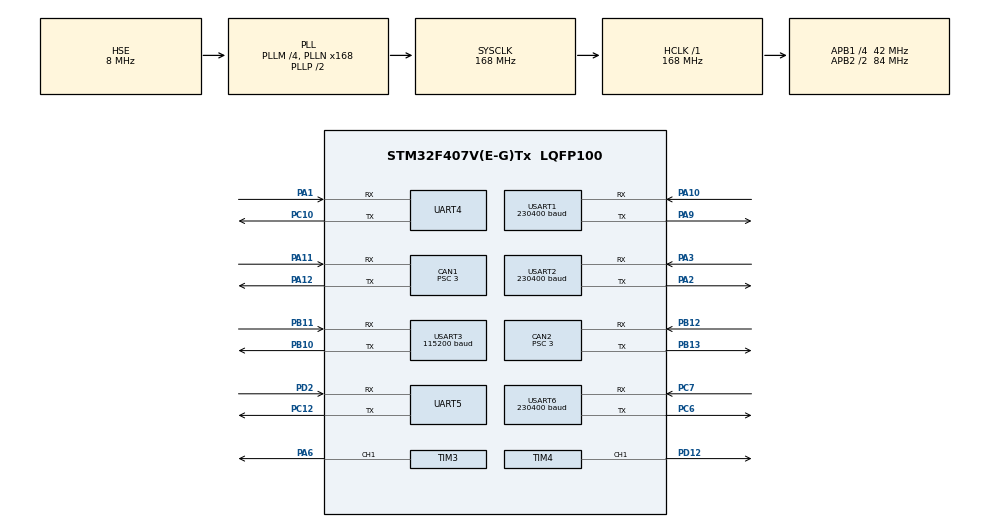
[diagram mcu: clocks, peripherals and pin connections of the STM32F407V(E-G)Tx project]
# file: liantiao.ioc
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CAN1.BS1=CAN_BS1_9TQ
CAN1.BS2=CAN_BS2_4TQ
CAN1.CalculateBaudRate=1000000
CAN1.CalculateTimeBit=1000
CAN1.CalculateTimeQuantum=71.42857142857143
CAN1.Prescaler=3
CAN2.BS1=CAN_BS1_9TQ
CAN2.BS2=CAN_BS2_4TQ
CAN2.CalculateBaudRate=1000000
CAN2.CalculateTimeBit=1000
CAN2.CalculateTimeQuantum=71.42857142857143
CAN2.Prescaler=3
FREERTOS.Tasks01=defaultTask,0,256,StartDefaultTask,As weak,NULL,Dynamic,NULL,NULL;upperstart,0,512,upperstarttask,As weak,NULL,Dynamic,NULL,NULL;upperservo,1,1024,upperservotask,As weak,NULL,Dynamic,NULL,NULL;uppergoing,0,1024,uppergoingtask,As weak,NULL,Dynamic,NULL,NULL;upeerMI,-3,128,upeeeMItask,As weak,NULL,Dynamic,NULL,NULL
Mcu.Family=STM32F4
Mcu.Name=STM32F407V(E-G)Tx
Mcu.Package=LQFP100
NVIC.CAN1_RX0_IRQn=true\:5\:0\:true\:false\:true\:true\:true\:true\:true
NVIC.CAN2_RX0_IRQn=true\:5\:0\:false\:false\:true\:true\:true\:true\:true
NVIC.PriorityGroup=NVIC_PRIORITYGROUP_4
NVIC.TIM1_UP_TIM10_IRQn=true\:15\:0\:false\:false\:true\:false\:false\:true\:true
NVIC.TimeBase=TIM1_UP_TIM10_IRQn
NVIC.TimeBaseIP=TIM1
NVIC.UART4_IRQn=true\:5\:0\:false\:false\:true\:true\:true\:true\:true
NVIC.UART5_IRQn=true\:5\:0\:false\:false\:true\:true\:true\:true\:true
NVIC.USART1_IRQn=true\:5\:0\:false\:false\:true\:true\:true\:true\:true
NVIC.USART2_IRQn=true\:5\:0\:false\:false\:true\:true\:true\:true\:true
NVIC.USART3_IRQn=true\:5\:0\:true\:false\:true\:true\:true\:true\:true
NVIC.USART6_IRQn=true\:5\:0\:false\:false\:true\:true\:true\:true\:true
PA1.Mode=Asynchronous
PA1.Signal=UART4_RX
PA10.Mode=Asynchronous
PA10.Signal=USART1_RX
PA11.Mode=CAN_Activate
PA11.Signal=CAN1_RX
PA12.Mode=CAN_Activate
PA12.Signal=CAN1_TX
PA13.Mode=Serial_Wire
PA13.Signal=SYS_JTMS-SWDIO
PA14.Mode=Serial_Wire
PA14.Signal=SYS_JTCK-SWCLK
PA2.Mode=Asynchronous
PA2.Signal=USART2_TX
PA3.Mode=Asynchronous
PA3.Signal=USART2_RX
PA6.Signal=S_TIM3_CH1
PA9.Mode=Asynchronous
PA9.Signal=USART1_TX
PB10.Mode=Asynchronous
PB10.Signal=USART3_TX
PB11.Mode=Asynchronous
PB11.Signal=USART3_RX
PB12.Mode=CAN_Activate
PB12.Signal=CAN2_RX
PB13.Mode=CAN_Activate
PB13.Signal=CAN2_TX
PC10.Mode=Asynchronous
PC10.Signal=UART4_TX
PC12.Mode=Asynchronous
PC12.Signal=UART5_TX
PC6.Mode=Asynchronous
PC6.Signal=USART6_TX
PC7.Mode=Asynchronous
PC7.Signal=USART6_RX
PD12.Signal=S_TIM4_CH1
PD2.Mode=Asynchronous
PD2.Signal=UART5_RX
PH0-OSC_IN.Mode=HSE-External-Oscillator
PH0-OSC_IN.Signal=RCC_OSC_IN
PH1-OSC_OUT.Mode=HSE-External-Oscillator
PH1-OSC_OUT.Signal=RCC_OSC_OUT
ProjectManager.HeapSize=0x200
ProjectManager.StackSize=0x400
ProjectManager.TargetToolchain=Makefile
RCC.48MHZClocksFreq_Value=84000000
RCC.AHBFreq_Value=168000000
RCC.APB1CLKDivider=RCC_HCLK_DIV4
RCC.APB1Freq_Value=42000000
RCC.APB1TimFreq_Value=84000000
RCC.APB2CLKDivider=RCC_HCLK_DIV2
RCC.APB2Freq_Value=84000000
RCC.APB2TimFreq_Value=168000000
RCC.CortexFreq_Value=168000000
RCC.HCLKFreq_Value=168000000
RCC.HSE_VALUE=8000000
RCC.HSI_VALUE=16000000
RCC.LSE_VALUE=32768
RCC.PLLM=4
RCC.PLLN=168
RCC.PLLSourceVirtual=RCC_PLLSOURCE_HSE
RCC.SYSCLKFreq_VALUE=168000000
RCC.SYSCLKSource=RCC_SYSCLKSOURCE_PLLCLK
RCC.VCOOutputFreq_Value=336000000
SH.S_TIM3_CH1.0=TIM3_CH1,PWM Generation1 CH1
SH.S_TIM4_CH1.0=TIM4_CH1,PWM Generation1 CH1
TIM3.AutoReloadPreload=TIM_AUTORELOAD_PRELOAD_ENABLE
TIM3.Channel-PWM\ Generation1\ CH1=TIM_CHANNEL_1
TIM3.Period=2000-1
TIM3.Prescaler=1680-1
TIM4.AutoReloadPreload=TIM_AUTORELOAD_PRELOAD_ENABLE
TIM4.Channel-PWM\ Generation1\ CH1=TIM_CHANNEL_1
TIM4.Period=2000-1
TIM4.Prescaler=1680-1
UART4.VirtualMode=Asynchronous
UART5.VirtualMode=Asynchronous
USART1.BaudRate=230400
USART1.VirtualMode=VM_ASYNC
USART2.BaudRate=230400
USART2.VirtualMode=VM_ASYNC
USART3.BaudRate=115200
USART3.VirtualMode=VM_ASYNC
USART6.BaudRate=230400
USART6.VirtualMode=VM_ASYNC
VP_FREERTOS_VS_CMSIS_V1.Mode=CMSIS_V1
VP_SYS_VS_tim1.Mode=TIM1
VP_TIM3_VS_ClockSourceINT.Mode=Internal
VP_TIM4_VS_ClockSourceINT.Mode=Internal
board=custom

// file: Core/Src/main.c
/* USER CODE BEGIN Header */
/**
  ******************************************************************************
  * @file           : main.c
  * @brief          : Main program body
  ******************************************************************************
  * @attention
  *
  * Copyright (c) 2025 STMicroelectronics.
  * All rights reserved.
  *
  * This software is licensed under terms that can be found in the LICENSE file
  * in the root directory of this software component.
  * If no LICENSE file comes with this software, it is provided AS-IS.
  *
  ******************************************************************************
  */
/* USER CODE END Header */
#include "main.h"
#include "cmsis_os.h"
#include "can.h"
#include "tim.h"
#include "usart.h"
#include "gpio.h"

/* USER CODE BEGIN Includes */
#include "param.h"
#include "stdio.h"
#include "retarget.h"
/* USER CODE END Includes */

void SystemClock_Config(void);
void MX_FREERTOS_Init(void);

int main(void)
{

  /* MCU Configuration--------------------------------------------------------*/

  /* Reset of all peripherals, Initializes the Flash interface and the Systick. */
  HAL_Init();

  /* Configure the system clock */
  SystemClock_Config();

  /* Initialize all configured peripherals */
  MX_GPIO_Init();
  MX_CAN1_Init();
  MX_TIM3_Init();
  MX_TIM4_Init();
  MX_USART1_UART_Init();
  MX_USART2_UART_Init();
  MX_USART3_UART_Init();
  MX_USART6_UART_Init();
  MX_UART4_Init();
  MX_UART5_Init();
  MX_CAN2_Init();
  /* USER CODE BEGIN 2 */
  RetargetInit(&huart3);
  HAL_UART_Receive_IT(&huart4, &rxBuffer1[rxIndex1], 1);
  HAL_UART_Receive_IT(&huart5, &rxBuffer2[rxIndex2], 1);

  HAL_Delay(1000);
  while(flag1 == 0 || flag2 == 0)
  {
    for (int i = 0; i < 42; i++) {
        printf("%c", rxBuffer1[i]);
        }
        printf("\n");
        for (int i = 0; i < 42; i++) {
            printf("%c ", rxBuffer2[i]);
        }
    printf("\n");
    HAL_Delay(100);
  }

  HAL_UART_AbortReceive_IT(&huart4);
  HAL_UART_AbortReceive_IT(&huart5);

  //HAL_Delay(1000);

  /* USER CODE END 2 */

  /* Call init function for freertos objects (in cmsis_os2.c) */
  MX_FREERTOS_Init();

  /* Start scheduler */
  osKernelStart();

  /* We should never get here as control is now taken by the scheduler */

  /* Infinite loop */
  while (1)
  {

  }
}

void SystemClock_Config(void)
{
  RCC_OscInitTypeDef RCC_OscInitStruct = {0};
  RCC_ClkInitTypeDef RCC_ClkInitStruct = {0};

  /** Configure the main internal regulator output voltage
  */
  __HAL_RCC_PWR_CLK_ENABLE();
  __HAL_PWR_VOLTAGESCALING_CONFIG(PWR_REGULATOR_VOLTAGE_SCALE1);

  /** Initializes the RCC Oscillators according to the specified parameters
  * in the RCC_OscInitTypeDef structure.
  */
  RCC_OscInitStruct.OscillatorType = RCC_OSCILLATORTYPE_HSE;
  RCC_OscInitStruct.HSEState = RCC_HSE_ON;
  RCC_OscInitStruct.PLL.PLLState = RCC_PLL_ON;
  RCC_OscInitStruct.PLL.PLLSource = RCC_PLLSOURCE_HSE;
  RCC_OscInitStruct.PLL.PLLM = 4;
  RCC_OscInitStruct.PLL.PLLN = 168;
  RCC_OscInitStruct.PLL.PLLP = RCC_PLLP_DIV2;
  RCC_OscInitStruct.PLL.PLLQ = 4;
  if (HAL_RCC_OscConfig(&RCC_OscInitStruct) != HAL_OK)
  {
    Error_Handler();
  }

  /** Initializes the CPU, AHB and APB buses clocks
  */
  RCC_ClkInitStruct.ClockType = RCC_CLOCKTYPE_HCLK|RCC_CLOCKTYPE_SYSCLK
                              |RCC_CLOCKTYPE_PCLK1|RCC_CLOCKTYPE_PCLK2;
  RCC_ClkInitStruct.SYSCLKSource = RCC_SYSCLKSOURCE_PLLCLK;
  RCC_ClkInitStruct.AHBCLKDivider = RCC_SYSCLK_DIV1;
  RCC_ClkInitStruct.APB1CLKDivider = RCC_HCLK_DIV4;
  RCC_ClkInitStruct.APB2CLKDivider = RCC_HCLK_DIV2;

  if (HAL_RCC_ClockConfig(&RCC_ClkInitStruct, FLASH_LATENCY_5) != HAL_OK)
  {
    Error_Handler();
  }
}

void HAL_TIM_PeriodElapsedCallback(TIM_HandleTypeDef *htim)
{
  if (htim->Instance == TIM1) {
    HAL_IncTick();
  }
}

void Error_Handler(void)
{
  __disable_irq();
  while (1)
  {
  }
}

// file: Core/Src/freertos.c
/* USER CODE BEGIN Header */
/**
  ******************************************************************************
  * File Name          : freertos.c
  * Description        : Code for freertos applications
  ******************************************************************************
  * @attention
  *
  * Copyright (c) 2025 STMicroelectronics.
  * All rights reserved.
  *
  * This software is licensed under terms that can be found in the LICENSE file
  * in the root directory of this software component.
  * If no LICENSE file comes with this software, it is provided AS-IS.
  *
  ******************************************************************************
  */
/* USER CODE END Header */

#include "FreeRTOS.h"
#include "task.h"
#include "main.h"
#include "cmsis_os.h"

/* USER CODE BEGIN Includes */
#include "param.h"
#include "retarget.h"
#include "upperrun.h"
#include "usart.h"
/* USER CODE END Includes */

osThreadId defaultTaskHandle;
osThreadId upperstartHandle;
osThreadId upperservoHandle;
osThreadId uppergoingHandle;
osThreadId upeerMIHandle;

void StartDefaultTask(void const * argument);
void upperstarttask(void const * argument);
void upperservotask(void const * argument);
void uppergoingtask(void const * argument);
void upeeeMItask(void const * argument);

void MX_FREERTOS_Init(void); /* (MISRA C 2004 rule 8.1) */

/* GetIdleTaskMemory prototype (linked to static allocation support) */
void vApplicationGetIdleTaskMemory( StaticTask_t **ppxIdleTaskTCBBuffer, StackType_t **ppxIdleTaskStackBuffer, uint32_t *pulIdleTaskStackSize );

/* USER CODE BEGIN GET_IDLE_TASK_MEMORY */
static StaticTask_t xIdleTaskTCBBuffer;
static StackType_t xIdleStack[configMINIMAL_STACK_SIZE];

void vApplicationGetIdleTaskMemory( StaticTask_t **ppxIdleTaskTCBBuffer, StackType_t **ppxIdleTaskStackBuffer, uint32_t *pulIdleTaskStackSize )
{
  *ppxIdleTaskTCBBuffer = &xIdleTaskTCBBuffer;
  *ppxIdleTaskStackBuffer = &xIdleStack[0];
  *pulIdleTaskStackSize = configMINIMAL_STACK_SIZE;
  /* place for user code */
}
/* USER CODE END GET_IDLE_TASK_MEMORY */

void MX_FREERTOS_Init(void) {
  /* USER CODE BEGIN Init */
  osDelay(1000);

  osDelay(2000);
  /* USER CODE END Init */

  /* Create the thread(s) */
  /* definition and creation of defaultTask */
  osThreadDef(defaultTask, StartDefaultTask, osPriorityNormal, 0, 256);
  defaultTaskHandle = osThreadCreate(osThread(defaultTask), NULL);

  /* definition and creation of upperstart */
  osThreadDef(upperstart, upperstarttask, osPriorityNormal, 0, 512);
  upperstartHandle = osThreadCreate(osThread(upperstart), NULL);

  /* definition and creation of upperservo */
  osThreadDef(upperservo, upperservotask, osPriorityAboveNormal, 0, 1024);
  upperservoHandle = osThreadCreate(osThread(upperservo), NULL);

  /* definition and creation of uppergoing */
  osThreadDef(uppergoing, uppergoingtask, osPriorityNormal, 0, 1024);
  uppergoingHandle = osThreadCreate(osThread(uppergoing), NULL);

  /* definition and creation of upeerMI */
  osThreadDef(upeerMI, upeeeMItask, osPriorityIdle, 0, 128);
  upeerMIHandle = osThreadCreate(osThread(upeerMI), NULL);

}

__weak void StartDefaultTask(void const * argument)
{
  for(;;)
  {
    osDelay(1);
  }
}

__weak void upperstarttask(void const * argument)
{
  for(;;)
  {
    osDelay(1);
  }
}

__weak void upperservotask(void const * argument)
{
  for(;;)
  {
    osDelay(1);
  }
}

__weak void uppergoingtask(void const * argument)
{
  for(;;)
  {
    osDelay(1);
  }
}

__weak void upeeeMItask(void const * argument)
{
  for(;;)
  {
    osDelay(1);
  }
}
